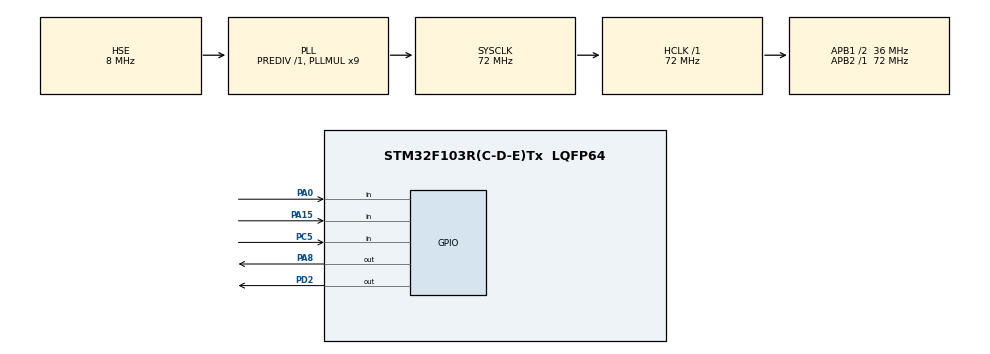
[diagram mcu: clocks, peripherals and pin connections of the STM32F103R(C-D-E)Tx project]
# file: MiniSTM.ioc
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Mcu.Family=STM32F1
Mcu.Name=STM32F103R(C-D-E)Tx
Mcu.Package=LQFP64
NVIC.PriorityGroup=NVIC_PRIORITYGROUP_4
PA0-WKUP.GPIO_PuPd=GPIO_PULLDOWN
PA0-WKUP.Signal=GPIO_Input
PA13.Mode=Serial_Wire
PA13.Signal=SYS_JTMS-SWDIO
PA14.Mode=Serial_Wire
PA14.Signal=SYS_JTCK-SWCLK
PA15.GPIO_PuPd=GPIO_PULLUP
PA15.Signal=GPIO_Input
PA8.GPIO_PuPd=GPIO_PULLUP
PA8.Signal=GPIO_Output
PC14-OSC32_IN.Mode=LSE-External-Oscillator
PC14-OSC32_IN.Signal=RCC_OSC32_IN
PC15-OSC32_OUT.Mode=LSE-External-Oscillator
PC15-OSC32_OUT.Signal=RCC_OSC32_OUT
PC5.GPIO_PuPd=GPIO_PULLUP
PC5.Signal=GPIO_Input
PD0-OSC_IN.Mode=HSE-External-Oscillator
PD0-OSC_IN.Signal=RCC_OSC_IN
PD1-OSC_OUT.Mode=HSE-External-Oscillator
PD1-OSC_OUT.Signal=RCC_OSC_OUT
PD2.GPIO_PuPd=GPIO_PULLUP
PD2.Signal=GPIO_Output
ProjectManager.HeapSize=0x200
ProjectManager.StackSize=0x400
ProjectManager.TargetToolchain=MDK-ARM V5.32
RCC.AHBFreq_Value=72000000
RCC.APB1CLKDivider=RCC_HCLK_DIV2
RCC.APB1Freq_Value=36000000
RCC.APB1TimFreq_Value=72000000
RCC.APB2Freq_Value=72000000
RCC.APB2TimFreq_Value=72000000
RCC.HCLKFreq_Value=72000000
RCC.PLLMUL=RCC_PLL_MUL9
RCC.PLLSourceVirtual=RCC_PLLSOURCE_HSE
RCC.SYSCLKFreq_VALUE=72000000
RCC.SYSCLKSource=RCC_SYSCLKSOURCE_PLLCLK
RCC.USBFreq_Value=72000000
board=custom

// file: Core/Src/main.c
/* USER CODE BEGIN Header */
/**
  ******************************************************************************
  * @file           : main.c
  * @brief          : Main program body
  ******************************************************************************
  * @attention
  *
  * Copyright (c) 2022 STMicroelectronics.
  * All rights reserved.
  *
  * This software is licensed under terms that can be found in the LICENSE file
  * in the root directory of this software component.
  * If no LICENSE file comes with this software, it is provided AS-IS.
  *
  ******************************************************************************
  */
/* USER CODE END Header */
#include "main.h"
#include "gpio.h"

/* USER CODE BEGIN Includes */
#include "led.h"
#include "key.h"
/* USER CODE END Includes */

void SystemClock_Config(void);

int main(void)
{
  /* USER CODE BEGIN 1 */
	uint8_t key = 0;
  /* USER CODE END 1 */

  /* MCU Configuration--------------------------------------------------------*/

  /* Reset of all peripherals, Initializes the Flash interface and the Systick. */
  HAL_Init();

  /* Configure the system clock */
  SystemClock_Config();

  /* Initialize all configured peripherals */
  MX_GPIO_Init();
  /* USER CODE BEGIN 2 */
	LED0 = 1;
  /* USER CODE END 2 */

  /* Infinite loop */
  /* USER CODE BEGIN WHILE */
  while (1)
  {
		key = KEY_Scan(0);
		switch(key)
		{
			case KEY0_PRES:
			{
				LED0 = !LED0;
				break;
			}
			case KEY1_PRES:
			{
				LED1 = !LED1;
				break;
			}
			case WKUP_PRES:
			{
				LED0 = !LED0;
				LED1 = !LED1;
				break;
			}
			default:
				HAL_Delay(10);
		}
    /* USER CODE END WHILE */

  }
}

void SystemClock_Config(void)
{
  RCC_OscInitTypeDef RCC_OscInitStruct = {0};
  RCC_ClkInitTypeDef RCC_ClkInitStruct = {0};

  /** Initializes the RCC Oscillators according to the specified parameters
  * in the RCC_OscInitTypeDef structure.
  */
  RCC_OscInitStruct.OscillatorType = RCC_OSCILLATORTYPE_HSE;
  RCC_OscInitStruct.HSEState = RCC_HSE_ON;
  RCC_OscInitStruct.HSEPredivValue = RCC_HSE_PREDIV_DIV1;
  RCC_OscInitStruct.HSIState = RCC_HSI_ON;
  RCC_OscInitStruct.PLL.PLLState = RCC_PLL_ON;
  RCC_OscInitStruct.PLL.PLLSource = RCC_PLLSOURCE_HSE;
  RCC_OscInitStruct.PLL.PLLMUL = RCC_PLL_MUL9;
  if (HAL_RCC_OscConfig(&RCC_OscInitStruct) != HAL_OK)
  {
    Error_Handler();
  }

  /** Initializes the CPU, AHB and APB buses clocks
  */
  RCC_ClkInitStruct.ClockType = RCC_CLOCKTYPE_HCLK|RCC_CLOCKTYPE_SYSCLK
                              |RCC_CLOCKTYPE_PCLK1|RCC_CLOCKTYPE_PCLK2;
  RCC_ClkInitStruct.SYSCLKSource = RCC_SYSCLKSOURCE_PLLCLK;
  RCC_ClkInitStruct.AHBCLKDivider = RCC_SYSCLK_DIV1;
  RCC_ClkInitStruct.APB1CLKDivider = RCC_HCLK_DIV2;
  RCC_ClkInitStruct.APB2CLKDivider = RCC_HCLK_DIV1;

  if (HAL_RCC_ClockConfig(&RCC_ClkInitStruct, FLASH_LATENCY_2) != HAL_OK)
  {
    Error_Handler();
  }
}

void Error_Handler(void)
{
  __disable_irq();
  while (1)
  {
  }
}
